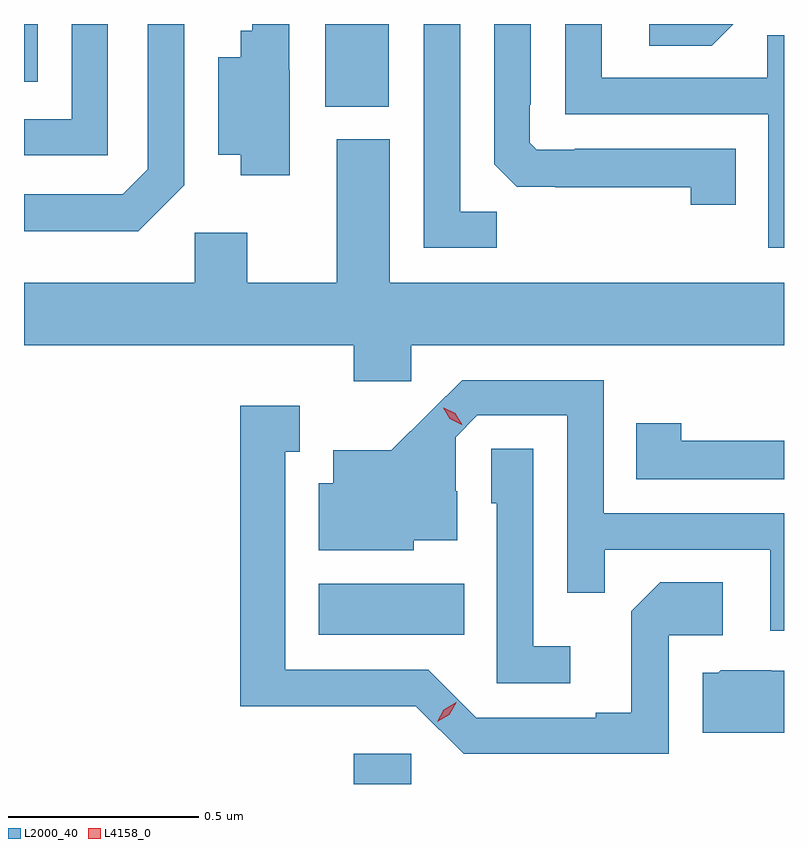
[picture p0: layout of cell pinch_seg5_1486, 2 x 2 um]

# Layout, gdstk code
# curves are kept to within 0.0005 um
import gdstk
lib = gdstk.Library(unit=1e-6, precision=1e-09)
def R(c, l, rs):  # rectangles x0, y0, x1, y1
    for r in rs: c.add(gdstk.rectangle(r[:2], r[2:], *l))
def P(c, l, *ps):  # polygons
    for p in ps: c.add(gdstk.Polygon(p, *l))
L2000_40 = (2000, 40)
L4158_0 = (4158, 0)

pinch_seg5_1486 = lib.new_cell('pinch_seg5_1486')
R(pinch_seg5_1486, L2000_40, [(135.023,886.241,135.174,886.321), (134.93,886.634,135.314,886.768), (134.948,888.023,135.115,888.241), (134.155,888.089,134.191,888.241)])
P(pinch_seg5_1486, L2000_40, [(135.399,887.747),(135.303,887.747),(135.303,888.241),(135.207,888.241),(135.207,887.652),(135.399,887.652)],
  [(136.155,888.212),(136.111,888.212),(136.111,888.099),(135.675,888.099),(135.675,888.241),(135.579,888.241),(135.579,888.003),(136.113,888.003),(136.113,887.652),(136.155,887.652)],
  [(136.028,887.913),(135.604,887.913),(135.604,887.91),(135.504,887.91),(135.486,887.928),(135.486,888.028),(135.489,888.028),(135.489,888.241),(135.393,888.241),(135.393,887.872),(135.452,887.813),(135.553,887.813),(135.553,887.812),(135.91,887.812),(135.91,887.766),(136.028,887.766)],
  [(136.022,888.241),(135.801,888.241),(135.801,888.184),(135.965,888.184)],
  [(134.854,888.119),(134.853,888.119),(134.853,888.241),(134.756,888.241),(134.756,888.223),(134.726,888.223),(134.726,888.154),(134.666,888.154),(134.666,887.897),(134.726,887.897),(134.726,887.843),(134.854,887.843)],
  [(134.577,887.817),(134.577,888.241),(134.481,888.241),(134.481,887.859),(134.415,887.793),(134.155,887.793),(134.155,887.696),(134.456,887.696)],
  [(134.376,888.241),(134.28,888.241),(134.28,887.991),(134.155,887.991),(134.155,887.895),(134.376,887.895)],
  [(135.174,887.396),(136.155,887.396),(136.155,887.56),(135.118,887.56),(135.118,887.938),(134.978,887.938),(134.978,887.56),(134.743,887.56),(134.743,887.692),(134.604,887.692),(134.604,887.56),(134.155,887.56),(134.155,887.396),(135.023,887.396),(135.023,887.301),(135.174,887.301)],
  [(136.155,886.953),(135.681,886.953),(135.681,887.304),(135.308,887.304),(135.121,887.119),(134.969,887.119),(134.969,887.032),(134.93,887.032),(134.93,886.856),(135.18,886.856),(135.18,886.883),(135.295,886.883),(135.295,887.012),(135.291,887.012),(135.291,887.154),(135.348,887.211),(135.585,887.211),(135.585,886.744),(135.683,886.744),(135.683,886.857),(136.119,886.857),(136.119,886.644),(136.155,886.644)],
  [(135.852,886.632),(135.994,886.632),(135.994,886.772),(135.829,886.772),(135.753,886.696),(135.753,886.429),(135.659,886.429),(135.659,886.416),(135.345,886.416),(135.219,886.542),(134.842,886.542),(134.842,887.115),(134.881,887.115),(134.881,887.236),(134.724,887.236),(134.724,886.445),(134.964,886.445),(134.964,886.446),(135.186,886.446),(135.312,886.32),(135.852,886.32)],
  [(136.155,887.144),(135.885,887.144),(135.885,887.191),(135.766,887.191),(135.766,887.043),(136.155,887.043)],
  [(135.592,886.603),(135.495,886.603),(135.495,887.123),(135.384,887.123),(135.384,886.98),(135.399,886.98),(135.399,886.506),(135.592,886.506)],
  [(136.155,886.539),(136.122,886.539),(136.122,886.54),(135.988,886.54),(135.982,886.534),(135.941,886.534),(135.941,886.376),(136.155,886.376)])
P(pinch_seg5_1486, L4158_0, [(135.307,887.187),(135.276,887.202),(135.258,887.231),(135.258,887.231),(135.259,887.231),(135.29,887.217),(135.308,887.187),(135.308,887.187)],
  [(135.242,886.405),(135.242,886.405),(135.26,886.437),(135.292,886.456),(135.292,886.456),(135.292,886.455),(135.274,886.423),(135.242,886.405)])

lib.write_gds('pinch_seg5_1486.gds')
